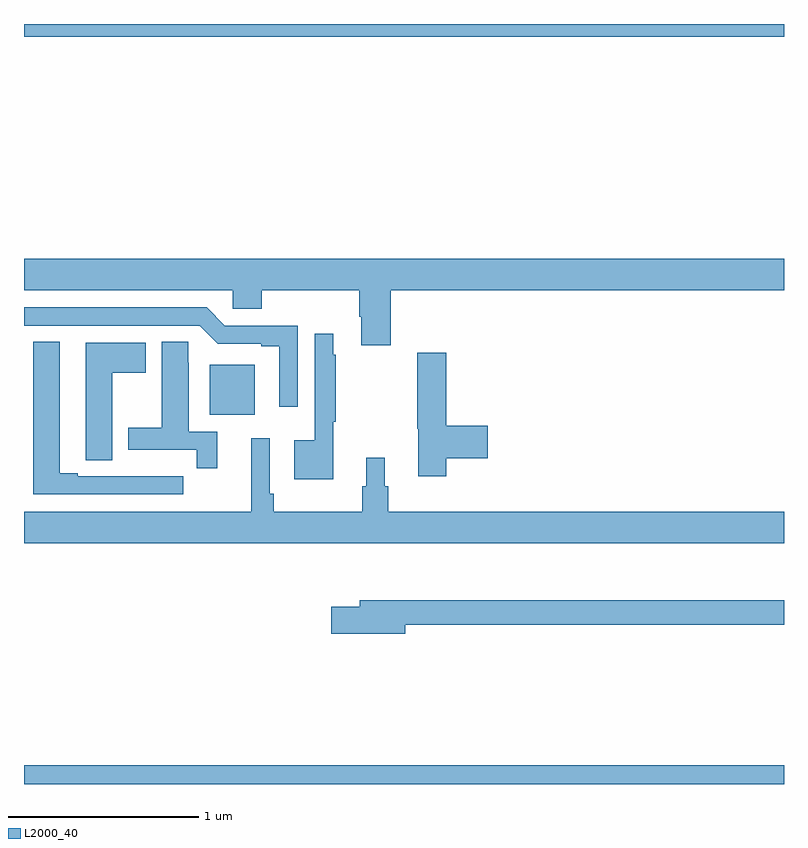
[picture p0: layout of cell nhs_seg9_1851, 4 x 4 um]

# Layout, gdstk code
import gdstk
lib = gdstk.Library(unit=1e-6, precision=1e-09)
def R(c, l, rs):  # rectangles x0, y0, x1, y1
    for r in rs: c.add(gdstk.rectangle(r[:2], r[2:], *l))
def P(c, l, *ps):  # polygons
    for p in ps: c.add(gdstk.Polygon(p, *l))
L2000_40 = (2000, 40)

nhs_seg9_1851 = lib.new_cell('nhs_seg9_1851')
R(nhs_seg9_1851, L2000_40, [(215,1180.5,219,1180.6), (215.978,1182.443,216.214,1182.706), (215,1184.432,219,1184.5)])
P(nhs_seg9_1851, L2000_40, [(216.929,1183.1),(219,1183.1),(219,1183.264),(215,1183.264),(215,1183.1),(216.099,1183.1),(216.099,1183.002),(216.251,1183.002),(216.251,1183.1),(216.764,1183.1),(216.764,1182.958),(216.776,1182.958),(216.776,1182.81),(216.929,1182.81)],
  [(216.441,1182.912),(216.057,1182.912),(215.961,1183.008),(215,1183.008),(215,1182.912),(215.925,1182.912),(216.021,1182.816),(216.248,1182.816),(216.248,1182.804),(216.344,1182.804),(216.344,1182.486),(216.441,1182.486)],
  [(216.628,1182.406),(216.64,1182.406),(216.64,1182.758),(216.628,1182.758),(216.628,1182.871),(216.531,1182.871),(216.531,1182.31),(216.422,1182.31),(216.422,1182.104),(216.628,1182.104)],
  [(215.839,1182.12),(215.726,1182.12),(215.726,1182.121),(215.56,1182.121),(215.56,1182.12),(215.284,1182.12),(215.284,1182.135),(215.188,1182.135),(215.188,1182.827),(215.048,1182.827),(215.048,1182.024),(215.839,1182.024)],
  [(216.017,1182.354),(215.866,1182.354),(215.866,1182.716),(215.865,1182.716),(215.865,1182.827),(215.726,1182.827),(215.726,1182.375),(215.549,1182.375),(215.549,1182.258),(215.908,1182.258),(215.908,1182.162),(216.017,1182.162)],
  [(215.464,1182.664),(215.641,1182.664),(215.641,1182.823),(215.324,1182.823),(215.324,1182.313),(215.325,1182.313),(215.325,1182.205),(215.464,1182.205)],
  [(217.223,1182.215),(217.441,1182.215),(217.441,1182.386),(217.223,1182.386),(217.223,1182.769),(217.069,1182.769),(217.069,1182.369),(217.076,1182.369),(217.076,1182.12),(217.223,1182.12)],
  [(219,1181.932),(216.917,1181.932),(216.917,1182.066),(216.898,1182.066),(216.898,1182.217),(216.8,1182.217),(216.8,1182.066),(216.781,1182.066),(216.781,1181.932),(216.314,1181.932),(216.314,1182.028),(216.294,1182.028),(216.294,1182.319),(216.197,1182.319),(216.197,1181.932),(215,1181.932),(215,1181.768),(219,1181.768)],
  [(217.006,1181.338),(219,1181.338),(219,1181.467),(216.767,1181.467),(216.767,1181.433),(216.618,1181.433),(216.618,1181.291),(217.006,1181.291)])

lib.write_gds('nhs_seg9_1851.gds')
